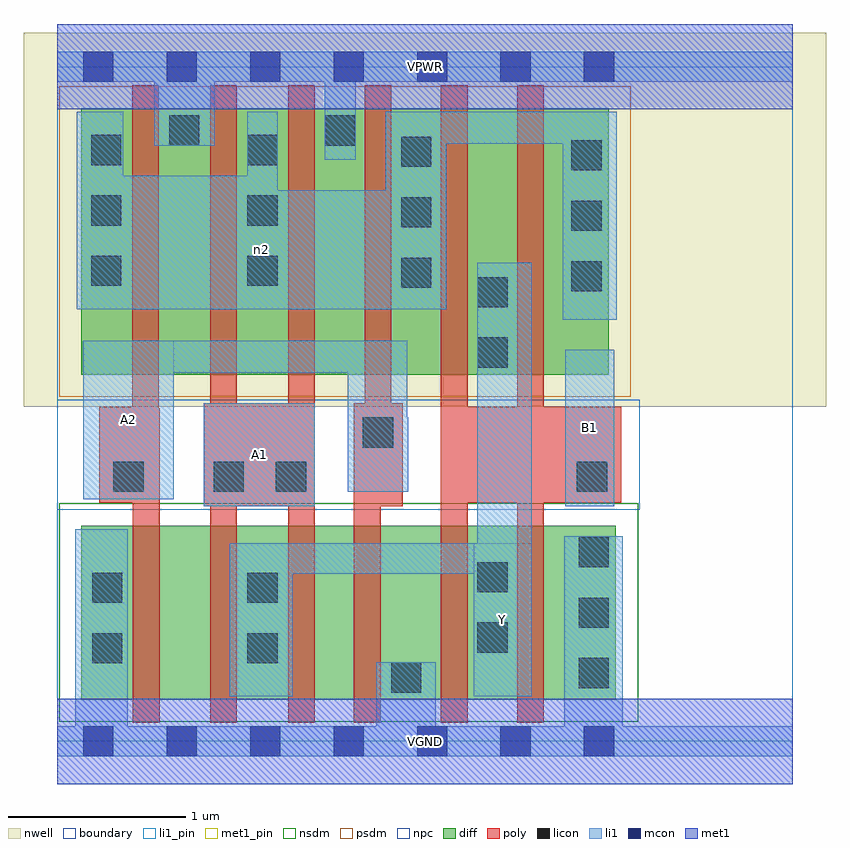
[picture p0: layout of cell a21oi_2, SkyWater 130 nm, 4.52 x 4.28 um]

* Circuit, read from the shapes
.subckt a21oi_2 A1 A2 B1 VGND VPWR Y n2
XM1 n1 A2 VGND VSUBS sky130_fd_pr__nfet_01v8 w=0.98 l=0.15
XM2 Y A1 n1 VSUBS sky130_fd_pr__nfet_01v8 w=0.98 l=0.15
XM3 n3 A1 Y VSUBS sky130_fd_pr__nfet_01v8 w=0.98 l=0.15
XM4 VGND A2 n3 VSUBS sky130_fd_pr__nfet_01v8 w=0.98 l=0.15
XM5 Y B1 VGND VSUBS sky130_fd_pr__nfet_01v8 w=0.98 l=0.15 m=2
XM6 VPWR A2 n2 n4 sky130_fd_pr__pfet_01v8 w=1.5 l=0.15 m=2
XM7 n2 A1 VPWR n4 sky130_fd_pr__pfet_01v8 w=1.5 l=0.15 m=2
XM8 Y B1 n2 n4 sky130_fd_pr__pfet_01v8 w=1.5 l=0.15 m=2
.ends

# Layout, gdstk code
import gdstk
lib = gdstk.Library(unit=1e-6, precision=1e-09)
def R(c, l, rs):  # rectangles x0, y0, x1, y1
    for r in rs: c.add(gdstk.rectangle(r[:2], r[2:], *l))
def A(c, l, x, y, w, h, nx, ny, dx, dy):  # array of equal rectangles
    R(c, l, [(x+i*dx, y+j*dy, x+i*dx+w, y+j*dy+h) for i in range(nx) for j in range(ny)])
nwell = (64, 20)
diff = (65, 20)
poly = (66, 20)
licon = (66, 44)
li1_pin = (67, 16)
li1 = (67, 20)
mcon = (67, 44)
met1_pin = (68, 16)
met1 = (68, 20)
nsdm = (93, 44)
psdm = (94, 20)
npc = (95, 20)
boundary = (235, 4)

a21oi_2 = lib.new_cell('a21oi_2')
R(a21oi_2, nwell, [(-0.19,1.885,4.33,3.99), (0,1.885,4.14,3.99)])
R(a21oi_2, diff, [(0.135,0.235,3.145,1.215), (0.135,2.065,3.105,3.565)])
R(a21oi_2, poly, [(0.425,0.105,0.575,1.875), (0.86,0.105,1.01,3.695), (1.3,0.105,1.45,3.695), (1.67,0.105,1.82,1.905), (2.16,0.105,2.31,3.695), (2.59,0.105,2.74,3.695), (0.825,1.325,1.45,1.905), (1.67,1.325,1.945,1.905), (1.73,1.325,1.88,3.695), (0.235,1.345,0.57,1.885), (0.42,1.345,0.57,3.695), (2.16,1.345,3.175,1.885)])
A(a21oi_2, licon, 2.935, 0.3, 0.17, 0.17, 1, 3, 0, 0.34)
A(a21oi_2, licon, 2.895, 2.535, 0.17, 0.17, 1, 3, 0, 0.34)
A(a21oi_2, licon, 1.935, 2.555, 0.17, 0.17, 1, 3, 0, 0.34)
A(a21oi_2, licon, 0.19, 2.565, 0.17, 0.17, 1, 3, 0, 0.34)
A(a21oi_2, licon, 1.07, 2.565, 0.17, 0.17, 1, 3, 0, 0.34)
R(a21oi_2, licon, [(1.88,0.275,2.05,0.445), (0.195,0.44,0.365,0.61), (1.07,0.44,1.24,0.61), (2.365,0.5,2.535,0.67), (0.195,0.78,0.365,0.95), (1.07,0.78,1.24,0.95), (2.365,0.84,2.535,1.01), (0.315,1.405,0.485,1.575), (0.88,1.405,1.05,1.575), (1.23,1.405,1.4,1.575), (2.925,1.405,3.095,1.575), (1.72,1.655,1.89,1.825), (2.365,2.105,2.535,2.275), (2.365,2.445,2.535,2.615), (0.63,3.355,0.8,3.525), (1.505,3.355,1.675,3.525)])
R(a21oi_2, li1_pin, [(2.345,0.255,2.67,1.115), (0.825,1.325,1.45,1.905), (2.86,1.325,3.135,2.205), (0.145,1.365,0.655,2.255)])
R(a21oi_2, li1, [(0,-0.085,4.14,0.085), (0.1,-0.085,0.395,1.195), (1.795,-0.085,2.13,0.445), (2.855,-0.085,3.185,1.155), (0.97,0.255,1.325,1.115), (2.345,0.255,2.67,1.115), (2.365,0.255,2.67,2.695), (0.97,0.945,2.67,1.115), (0.825,1.325,1.45,1.905), (2.86,1.325,3.135,2.205), (0.145,1.365,0.655,2.255), (1.635,1.405,1.97,2.255), (1.635,1.405,1.975,1.825), (0.145,2.075,1.97,2.255), (2.845,2.375,3.15,3.545), (0.11,2.435,2.19,3.105), (0.11,2.435,0.37,3.545), (0.11,2.435,1.24,3.185), (1.07,2.435,1.24,3.545), (1.85,2.435,2.19,3.545), (1.505,3.275,1.68,3.885), (0.545,3.355,0.885,3.885), (1.85,3.365,3.15,3.545), (0,3.715,4.14,3.885)])
A(a21oi_2, mcon, 0.145, -0.085, 0.17, 0.17, 7, 2, 0.47, 3.8)
R(a21oi_2, met1_pin, [(0,-0.24,4.14,0.24), (0,3.56,4.14,4.04)])
R(a21oi_2, met1, [(0,-0.24,4.14,0.24), (0,3.56,4.14,4.04)])
R(a21oi_2, nsdm, [(0.01,0.11,3.27,1.34)])
R(a21oi_2, psdm, [(0.01,1.94,3.23,3.69)])
R(a21oi_2, npc, [(0,1.305,3.28,1.925)])
R(a21oi_2, boundary, [(0,0,4.14,3.8)])
a21oi_2.add(gdstk.Label('A1', (1.137,1.615), layer=67, texttype=5))
a21oi_2.add(gdstk.Label('A2', (0.4,1.81), layer=67, texttype=5))
a21oi_2.add(gdstk.Label('B1', (2.997,1.765), layer=67, texttype=5))
a21oi_2.add(gdstk.Label('Y', (2.507,0.685), layer=67, texttype=5))
a21oi_2.add(gdstk.Label('n2', (1.15,2.77), layer=67, texttype=5))
a21oi_2.add(gdstk.Label('VPWR', (2.07,3.8), layer=68, texttype=5))
a21oi_2.add(gdstk.Label('VGND', (2.07,0), layer=68, texttype=5))
a21oi_2.add(gdstk.Label('A1', (1.137,1.615), layer=67, texttype=16))
a21oi_2.add(gdstk.Label('A2', (0.4,1.81), layer=67, texttype=16))
a21oi_2.add(gdstk.Label('B1', (2.997,1.765), layer=67, texttype=16))
a21oi_2.add(gdstk.Label('Y', (2.507,0.685), layer=67, texttype=16))
a21oi_2.add(gdstk.Label('VPWR', (2.07,3.8), layer=68, texttype=16))
a21oi_2.add(gdstk.Label('VGND', (2.07,0), layer=68, texttype=16))

lib.write_gds('a21oi_2.gds')
